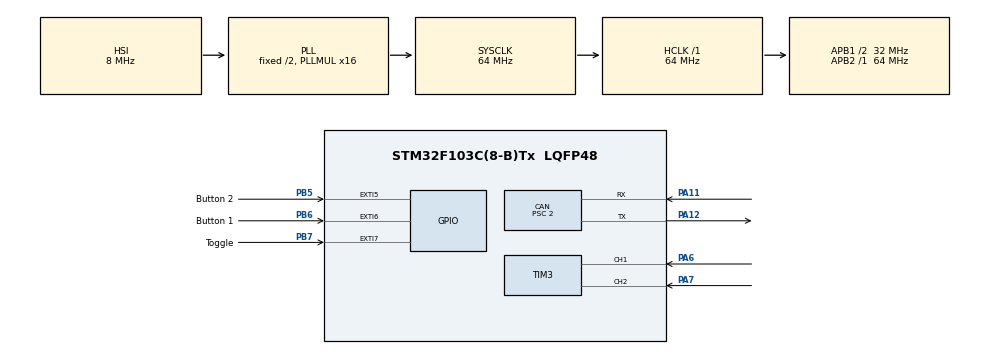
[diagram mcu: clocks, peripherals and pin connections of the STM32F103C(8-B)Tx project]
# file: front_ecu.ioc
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CAN.BS1=CAN_BS1_12TQ
CAN.BS2=CAN_BS2_3TQ
CAN.CalculateBaudRate=1000000
CAN.CalculateTimeBit=1000
CAN.CalculateTimeQuantum=62.5
CAN.Prescaler=2
FREERTOS.Tasks01=defaultTask,24,128,StartDefaultTask,Default,NULL,Dynamic,NULL,NULL
Mcu.Family=STM32F1
Mcu.Name=STM32F103C(8-B)Tx
Mcu.Package=LQFP48
NVIC.EXTI9_5_IRQn=true\:5\:0\:false\:false\:true\:true\:true\:true\:true
NVIC.PriorityGroup=NVIC_PRIORITYGROUP_4
NVIC.TIM1_UP_IRQn=true\:15\:0\:false\:false\:true\:false\:false\:true\:true
NVIC.TIM3_IRQn=true\:5\:0\:false\:false\:true\:true\:true\:true\:true
NVIC.TimeBase=TIM1_UP_IRQn
NVIC.TimeBaseIP=TIM1
NVIC.USB_LP_CAN1_RX0_IRQn=true\:5\:0\:false\:false\:true\:true\:true\:true\:true
PA11.Mode=CAN_Activate
PA11.Signal=CAN_RX
PA12.Mode=CAN_Activate
PA12.Signal=CAN_TX
PA13.Mode=Serial_Wire
PA13.Signal=SYS_JTMS-SWDIO
PA14.Mode=Serial_Wire
PA14.Signal=SYS_JTCK-SWCLK
PA6.GPIO_PuPd=GPIO_PULLUP
PA6.Signal=S_TIM3_CH1
PA7.GPIO_PuPd=GPIO_PULLUP
PA7.Signal=S_TIM3_CH2
PB5.GPIO_Label=Button 2
PB5.GPIO_ModeDefaultEXTI=GPIO_MODE_IT_FALLING
PB5.GPIO_PuPd=GPIO_PULLUP
PB5.Signal=GPXTI5
PB6.GPIO_Label=Button 1
PB6.GPIO_ModeDefaultEXTI=GPIO_MODE_IT_FALLING
PB6.GPIO_PuPd=GPIO_PULLUP
PB6.Signal=GPXTI6
PB7.GPIO_Label=Toggle
PB7.GPIO_ModeDefaultEXTI=GPIO_MODE_IT_FALLING
PB7.GPIO_PuPd=GPIO_PULLUP
PB7.Signal=GPXTI7
ProjectManager.HeapSize=0x200
ProjectManager.StackSize=0x400
ProjectManager.TargetToolchain=CMake
RCC.AHBFreq_Value=64000000
RCC.APB1CLKDivider=RCC_HCLK_DIV2
RCC.APB1Freq_Value=32000000
RCC.APB1TimFreq_Value=64000000
RCC.APB2Freq_Value=64000000
RCC.APB2TimFreq_Value=64000000
RCC.HCLKFreq_Value=64000000
RCC.PLLMUL=RCC_PLL_MUL16
RCC.SYSCLKFreq_VALUE=64000000
RCC.SYSCLKSource=RCC_SYSCLKSOURCE_PLLCLK
RCC.USBFreq_Value=64000000
SH.S_TIM3_CH1.0=TIM3_CH1,Encoder_Interface
SH.S_TIM3_CH2.0=TIM3_CH2,Encoder_Interface
TIM3.EncoderMode=TIM_ENCODERMODE_TI12
TIM3.IC1Filter=15
VP_FREERTOS_VS_CMSIS_V2.Mode=CMSIS_V2
VP_SYS_VS_tim1.Mode=TIM1
board=custom

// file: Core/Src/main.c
/* USER CODE BEGIN Header */
/**
  ******************************************************************************
  * @file           : main.c
  * @brief          : Main program body
  ******************************************************************************
  * @attention
  *
  * Copyright (c) 2026 STMicroelectronics.
  * All rights reserved.
  *
  * This software is licensed under terms that can be found in the LICENSE file
  * in the root directory of this software component.
  * If no LICENSE file comes with this software, it is provided AS-IS.
  *
  ******************************************************************************
  */
/* USER CODE END Header */
#include "main.h"
#include "cmsis_os.h"
#include "can.h"
#include "tim.h"
#include "gpio.h"

/* USER CODE BEGIN PD */
#define ROT_A_GPIO_Port GPIOA
#define ROT_A_Pin GPIO_PIN_6
#define ROT_B_GPIO_Port GPIOA
#define ROT_B_Pin GPIO_PIN_7
/* USER CODE END PD */

void SystemClock_Config(void);
void MX_FREERTOS_Init(void);

int main(void)
{

  /* MCU Configuration--------------------------------------------------------*/

  /* Reset of all peripherals, Initializes the Flash interface and the Systick. */
  HAL_Init();

  /* Configure the system clock */
  SystemClock_Config();

  /* Initialize all configured peripherals */
  MX_GPIO_Init();
  MX_TIM3_Init();
  MX_CAN_Init();
  /* USER CODE BEGIN 2 */
  HAL_TIM_Encoder_Start_IT(&htim3, TIM_CHANNEL_ALL);
  /* USER CODE END 2 */

  /* Init scheduler */
  osKernelInitialize();  /* Call init function for freertos objects (in cmsis_os2.c) */
  MX_FREERTOS_Init();

  /* Start scheduler */
  osKernelStart();

  /* We should never get here as control is now taken by the scheduler */

  /* Infinite loop */
  while (1)
  {

  }
}

void SystemClock_Config(void)
{
  RCC_OscInitTypeDef RCC_OscInitStruct = {0};
  RCC_ClkInitTypeDef RCC_ClkInitStruct = {0};

  /** Initializes the RCC Oscillators according to the specified parameters
  * in the RCC_OscInitTypeDef structure.
  */
  RCC_OscInitStruct.OscillatorType = RCC_OSCILLATORTYPE_HSI;
  RCC_OscInitStruct.HSIState = RCC_HSI_ON;
  RCC_OscInitStruct.HSICalibrationValue = RCC_HSICALIBRATION_DEFAULT;
  RCC_OscInitStruct.PLL.PLLState = RCC_PLL_ON;
  RCC_OscInitStruct.PLL.PLLSource = RCC_PLLSOURCE_HSI_DIV2;
  RCC_OscInitStruct.PLL.PLLMUL = RCC_PLL_MUL16;
  if (HAL_RCC_OscConfig(&RCC_OscInitStruct) != HAL_OK)
  {
    Error_Handler();
  }

  /** Initializes the CPU, AHB and APB buses clocks
  */
  RCC_ClkInitStruct.ClockType = RCC_CLOCKTYPE_HCLK|RCC_CLOCKTYPE_SYSCLK
                              |RCC_CLOCKTYPE_PCLK1|RCC_CLOCKTYPE_PCLK2;
  RCC_ClkInitStruct.SYSCLKSource = RCC_SYSCLKSOURCE_PLLCLK;
  RCC_ClkInitStruct.AHBCLKDivider = RCC_SYSCLK_DIV1;
  RCC_ClkInitStruct.APB1CLKDivider = RCC_HCLK_DIV2;
  RCC_ClkInitStruct.APB2CLKDivider = RCC_HCLK_DIV1;

  if (HAL_RCC_ClockConfig(&RCC_ClkInitStruct, FLASH_LATENCY_2) != HAL_OK)
  {
    Error_Handler();
  }
}

/* USER CODE BEGIN 4 */
// 20 notches on rot encoder
// 10 teeth on rot encoder gear ~36deg per tooth
// 16 teeth on steering wheel gear ~22.5deg per tooth

volatile int16_t counter = 0;
volatile int16_t count = 0;
volatile float steering_angle_deg = 0.0f;

void HAL_TIM_IC_CaptureCallback(TIM_HandleTypeDef *htim)
{
  if (htim->Instance == TIM3)
  {
    // Cast to int16_t natively handles negative values when the timer rolls under 0
    counter = (int16_t)__HAL_TIM_GET_COUNTER(htim);
    count = counter / 4;

    // Calculate the physical steering wheel angle
    steering_angle_deg = (float)count * 11.25f;
  }
}
/* USER CODE END 4 */

void HAL_TIM_PeriodElapsedCallback(TIM_HandleTypeDef *htim)
{
  if (htim->Instance == TIM1)
  {
    HAL_IncTick();
  }
}

void Error_Handler(void)
{
  __disable_irq();
  while (1)
  {
  }
}

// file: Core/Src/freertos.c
/* USER CODE BEGIN Header */
/**
  ******************************************************************************
  * File Name          : freertos.c
  * Description        : Code for freertos applications
  ******************************************************************************
  */
/* USER CODE END Header */

#include "FreeRTOS.h"
#include "task.h"
#include "main.h"
#include "cmsis_os.h"

/* USER CODE BEGIN Includes */
#include "can.h"
#include "mochi.h"
#include <stdbool.h>
/* USER CODE END Includes */

/* USER CODE BEGIN PTD */
typedef enum {
    STATE_IDLE,
    STATE_WAITING_ACK
} BtnState_t;

typedef struct {
    uint8_t id;
    uint8_t physical_state;
    uint8_t seq;
    BtnState_t state;
    uint32_t wait_start_time;
    bool trigger_send;
} ButtonTracker_t;
/* USER CODE END PTD */

/* USER CODE BEGIN Variables */

// Import the TIM3 handle so we can read the raw hardware counter directly
extern TIM_HandleTypeDef htim3;

// Index 0: Button 1, Index 1: Button 2 (Calibration), Index 2: Toggle
volatile ButtonTracker_t btns[3] = {
    {1, 1, 0, STATE_IDLE, 0, false},
    {2, 1, 0, STATE_IDLE, 0, false},
    {3, 1, 0, STATE_IDLE, 0, false}
};

/* USER CODE END Variables */
/* Definitions for defaultTask */
osThreadId_t defaultTaskHandle;
const osThreadAttr_t defaultTask_attributes = {
  .name = "defaultTask",
  .stack_size = 128 * 4,
  .priority = (osPriority_t) osPriorityNormal,
};

/* USER CODE BEGIN FunctionPrototypes */

// Hardware Interrupt for CAN Reception (The Dash ACK)
void HAL_CAN_RxFifo0MsgPendingCallback(CAN_HandleTypeDef *hcan)
{
    CAN_RxHeaderTypeDef rxHeader;
    uint8_t rxData[8];

    if (HAL_CAN_GetRxMessage(hcan, CAN_RX_FIFO0, &rxHeader, rxData) == HAL_OK) {

        // 1280 (0x500) is the dash_ack message ID from the DBC
        if (rxHeader.StdId == 1280) {
            struct mochi_dash_ack_t ack;
            mochi_dash_ack_unpack(&ack, rxData, rxHeader.DLC);

            // Look for the matching button and sequence number
            for (int i = 0; i < 3; i++) {
                if (btns[i].id == ack.button_id &&
                    btns[i].state == STATE_WAITING_ACK &&
                    btns[i].seq == ack.seq) {

                    // ACK received! Transition back to IDLE
                    btns[i].state = STATE_IDLE;
                }
            }
        }
    }
}

/* USER CODE END FunctionPrototypes */

void StartDefaultTask(void *argument);

void MX_FREERTOS_Init(void); /* (MISRA C 2004 rule 8.1) */

void MX_FREERTOS_Init(void) {

  /* Create the thread(s) */
  /* creation of defaultTask */
  defaultTaskHandle = osThreadNew(StartDefaultTask, NULL, &defaultTask_attributes);

}

void StartDefaultTask(void *argument)
{
  /* USER CODE BEGIN StartDefaultTask */
  CAN_TxHeaderTypeDef txHeader;
  uint32_t txMailbox;
  uint8_t txData[8];

  struct mochi_front_steering_t steering_msg;
  uint32_t steering_timer = 0;

  // Variable to store the steering offset on the STM32
  float steering_offset_deg = 0.0f;

  // Variables for software debouncing
  uint8_t btn_history[3] = {0, 0, 0};
  uint16_t btn_pins[3] = {Button_1_Pin, Button_2_Pin, Toggle_Pin};

  // --- CAN FILTER SETUP ---
  CAN_FilterTypeDef canFilterConfig;
  canFilterConfig.FilterBank = 0;
  canFilterConfig.FilterMode = CAN_FILTERMODE_IDMASK;
  canFilterConfig.FilterScale = CAN_FILTERSCALE_32BIT;
  canFilterConfig.FilterIdHigh = 0x0000;
  canFilterConfig.FilterIdLow = 0x0000;
  canFilterConfig.FilterMaskIdHigh = 0x0000;
  canFilterConfig.FilterMaskIdLow = 0x0000;
  canFilterConfig.FilterFIFOAssignment = CAN_RX_FIFO0;
  canFilterConfig.FilterActivation = ENABLE;
  canFilterConfig.SlaveStartFilterBank = 14;
  HAL_CAN_ConfigFilter(&hcan, &canFilterConfig);

  // Start the CAN Peripheral and enable RX Interrupts
  HAL_CAN_Start(&hcan);
  HAL_CAN_ActivateNotification(&hcan, CAN_IT_RX_FIFO0_MSG_PENDING);

  // Setup static header info for steering
  txHeader.StdId = 1538; // 0x602 front_steering
  txHeader.ExtId = 0;
  txHeader.IDE = CAN_ID_STD;
  txHeader.RTR = CAN_RTR_DATA;
  txHeader.DLC = 2;
  txHeader.TransmitGlobalTime = DISABLE;

  /* Infinite loop */
  for(;;)
  {
    uint32_t now = HAL_GetTick();

      // ----------------------------------------------------
      // 1. Shift-Register Software Debounce (Runs every 10ms)
      // ----------------------------------------------------
      for (int i = 0; i < 3; i++) {
          btn_history[i] = (btn_history[i] << 1) | (HAL_GPIO_ReadPin(GPIOB, btn_pins[i]) == GPIO_PIN_RESET ? 1 : 0);

          if (i < 2) {
              // FOR BUTTONS 1 & 2 (Momentary Push)
              // Trigger only on the moment of a solid press
              if ((btn_history[i] & 0x1F) == 0x0F) {
                  if (btns[i].state == STATE_IDLE) {
                      if (btns[i].id == 2) {
                          int16_t current_counter = (int16_t)__HAL_TIM_GET_COUNTER(&htim3);
                          steering_offset_deg = ((float)current_counter / 4.0f) * 11.25f;
                      }
                      btns[i].seq++;
                      btns[i].physical_state = 1; // Always 1 for momentary press
                      btns[i].trigger_send = true;
                      btns[i].state = STATE_WAITING_ACK;
                      btns[i].wait_start_time = now;
                  }
              }
          } else {
              // FOR TOGGLE SWITCH (Stateful)
              // Look for 5 consecutive readings of the exact same state to confirm a flip
              uint8_t stable_state = btn_history[i] & 0x1F;
              uint8_t new_state = btns[i].physical_state;

              if (stable_state == 0x1F) new_state = 1;      // Solidly ON
              else if (stable_state == 0x00) new_state = 0; // Solidly OFF

              // If the toggle flipped, trigger a CAN message
              if (new_state != btns[i].physical_state) {
                  btns[i].physical_state = new_state;
                  if (btns[i].state == STATE_IDLE) {
                      btns[i].seq++;
                      btns[i].trigger_send = true;
                      btns[i].state = STATE_WAITING_ACK;
                      btns[i].wait_start_time = now;
                  }
              }
          }
      }

    // ----------------------------------------------------
    // 2. Process Button State Machine (Send & Retry logic)
    // ----------------------------------------------------
    for (int i = 0; i < 3; i++) {
        bool timeout = (btns[i].state == STATE_WAITING_ACK) && (now - btns[i].wait_start_time > 500);

        if (btns[i].trigger_send || timeout) {
            btns[i].trigger_send = false;

            if (timeout) {
                btns[i].wait_start_time = now;
            }

            struct mochi_front_buttons_t btn_msg;
            btn_msg.button_id = btns[i].id;
            btn_msg.button_state = btns[i].physical_state;
            btn_msg.seq = btns[i].seq;

            CAN_TxHeaderTypeDef btnTxHeader;
            btnTxHeader.StdId = 1537; // 0x601 front_buttons
            btnTxHeader.ExtId = 0;
            btnTxHeader.IDE = CAN_ID_STD;
            btnTxHeader.RTR = CAN_RTR_DATA;
            btnTxHeader.DLC = 3;

            uint8_t txDataBtn[8];
            mochi_front_buttons_pack(txDataBtn, &btn_msg, btnTxHeader.DLC);

            if (HAL_CAN_GetTxMailboxesFreeLevel(&hcan) > 0) {
                HAL_CAN_AddTxMessage(&hcan, &btnTxHeader, txDataBtn, &txMailbox);
            }
        }
    }

    // ----------------------------------------------------
    // 3. Process Steering Angle (Send exactly every 100ms)
    // ----------------------------------------------------
    if (now - steering_timer >= 100) {
        steering_timer = now;

        // Read the hardware timer counter directly
        int16_t counter = (int16_t)__HAL_TIM_GET_COUNTER(&htim3);

        // Calculate the raw angle, forcing floating-point division
        float raw_angle = ((float)counter / 4.0f) * 11.25f;

        // Apply the offset before encoding
        float calibrated_angle = raw_angle - steering_offset_deg;

        steering_msg.steering_angle = mochi_front_steering_steering_angle_encode(calibrated_angle);
        mochi_front_steering_pack(txData, &steering_msg, txHeader.DLC);

        if (HAL_CAN_GetTxMailboxesFreeLevel(&hcan) > 0) {
            HAL_CAN_AddTxMessage(&hcan, &txHeader, txData, &txMailbox);
        }
    }

    osDelay(10);
  }
  /* USER CODE END StartDefaultTask */
}
